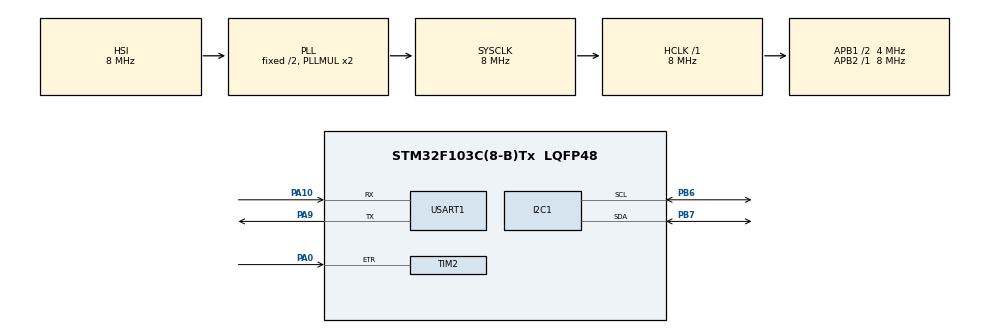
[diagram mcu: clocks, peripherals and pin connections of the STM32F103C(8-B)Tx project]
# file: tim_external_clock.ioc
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Mcu.Family=STM32F1
Mcu.Name=STM32F103C(8-B)Tx
Mcu.Package=LQFP48
NVIC.PriorityGroup=NVIC_PRIORITYGROUP_4
NVIC.TIM2_IRQn=true\:0\:0\:false\:false\:true\:true\:true\:true
PA0-WKUP.Signal=S_TIM2_CH1_ETR
PA10.Mode=Asynchronous
PA10.Signal=USART1_RX
PA13.Mode=Serial_Wire
PA13.Signal=SYS_JTMS-SWDIO
PA14.Mode=Serial_Wire
PA14.Signal=SYS_JTCK-SWCLK
PA9.Mode=Asynchronous
PA9.Signal=USART1_TX
PB6.Mode=I2C
PB6.Signal=I2C1_SCL
PB7.Mode=I2C
PB7.Signal=I2C1_SDA
ProjectManager.HeapSize=0x200
ProjectManager.StackSize=0x400
ProjectManager.TargetToolchain=CMake
RCC.AHBFreq_Value=8000000
RCC.APB1CLKDivider=RCC_HCLK_DIV2
RCC.APB1Freq_Value=4000000
RCC.APB1TimFreq_Value=8000000
RCC.APB2Freq_Value=8000000
RCC.APB2TimFreq_Value=8000000
RCC.HCLKFreq_Value=8000000
RCC.SYSCLKFreq_VALUE=8000000
RCC.SYSCLKSource=RCC_SYSCLKSOURCE_PLLCLK
RCC.USBFreq_Value=8000000
SH.S_TIM2_CH1_ETR.0=TIM2_ETR,ClockSourceETR_Mode2
TIM2.ClockFilter=15
TIM2.Period=10
USART1.VirtualMode=VM_ASYNC
board=custom

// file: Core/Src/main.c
/* USER CODE BEGIN Header */
/**
  ******************************************************************************
  * @file           : main.c
  * @brief          : Main program body
  ******************************************************************************
  * @attention
  *
  * Copyright (c) 2026 STMicroelectronics.
  * All rights reserved.
  *
  * This software is licensed under terms that can be found in the LICENSE file
  * in the root directory of this software component.
  * If no LICENSE file comes with this software, it is provided AS-IS.
  *
  ******************************************************************************
  */
/* USER CODE END Header */
#include "main.h"
#include "i2c.h"
#include "tim.h"
#include "usart.h"
#include "gpio.h"

/* USER CODE BEGIN Includes */
#include <stdint.h>
#include <stdio.h>
#include <string.h>
#include <sys/_intsup.h>
/* USER CODE END Includes */

/* USER CODE BEGIN PM */
#define period 10
/* USER CODE END PM */

/* USER CODE BEGIN PV */
uint32_t loop = 0;
/* USER CODE END PV */

void SystemClock_Config(void);

/* USER CODE BEGIN 0 */
void HAL_TIM_PeriodElapsedCallback(TIM_HandleTypeDef *htim)
{
  loop += 1;
}
/* USER CODE END 0 */

int main(void)
{

  /* MCU Configuration--------------------------------------------------------*/

  /* Reset of all peripherals, Initializes the Flash interface and the Systick. */
  HAL_Init();

  /* Configure the system clock */
  SystemClock_Config();

  /* Initialize all configured peripherals */
  MX_GPIO_Init();
  MX_I2C1_Init();
  MX_TIM2_Init();
  MX_USART1_UART_Init();
  /* USER CODE BEGIN 2 */
  HAL_TIM_Base_Start_IT(&htim2);
  int counter = 0;
  char message[20] = "";

  /* USER CODE END 2 */

  /* Infinite loop */
  /* USER CODE BEGIN WHILE */
  while (1)
  {

    counter =loop * period + __HAL_TIM_GET_COUNTER(&htim2);
    sprintf(message,"counter:%d\r\n",counter);
    HAL_UART_Transmit(&huart1,(uint8_t *)message,strlen(message),100);

    HAL_Delay(500);
    /* USER CODE END WHILE */

  }
}

void SystemClock_Config(void)
{
  RCC_OscInitTypeDef RCC_OscInitStruct = {0};
  RCC_ClkInitTypeDef RCC_ClkInitStruct = {0};

  /** Initializes the RCC Oscillators according to the specified parameters
  * in the RCC_OscInitTypeDef structure.
  */
  RCC_OscInitStruct.OscillatorType = RCC_OSCILLATORTYPE_HSI;
  RCC_OscInitStruct.HSIState = RCC_HSI_ON;
  RCC_OscInitStruct.HSICalibrationValue = RCC_HSICALIBRATION_DEFAULT;
  RCC_OscInitStruct.PLL.PLLState = RCC_PLL_ON;
  RCC_OscInitStruct.PLL.PLLSource = RCC_PLLSOURCE_HSI_DIV2;
  RCC_OscInitStruct.PLL.PLLMUL = RCC_PLL_MUL2;
  if (HAL_RCC_OscConfig(&RCC_OscInitStruct) != HAL_OK)
  {
    Error_Handler();
  }

  /** Initializes the CPU, AHB and APB buses clocks
  */
  RCC_ClkInitStruct.ClockType = RCC_CLOCKTYPE_HCLK|RCC_CLOCKTYPE_SYSCLK
                              |RCC_CLOCKTYPE_PCLK1|RCC_CLOCKTYPE_PCLK2;
  RCC_ClkInitStruct.SYSCLKSource = RCC_SYSCLKSOURCE_PLLCLK;
  RCC_ClkInitStruct.AHBCLKDivider = RCC_SYSCLK_DIV1;
  RCC_ClkInitStruct.APB1CLKDivider = RCC_HCLK_DIV2;
  RCC_ClkInitStruct.APB2CLKDivider = RCC_HCLK_DIV1;

  if (HAL_RCC_ClockConfig(&RCC_ClkInitStruct, FLASH_LATENCY_0) != HAL_OK)
  {
    Error_Handler();
  }
}

void Error_Handler(void)
{
  __disable_irq();
  while (1)
  {
  }
}
